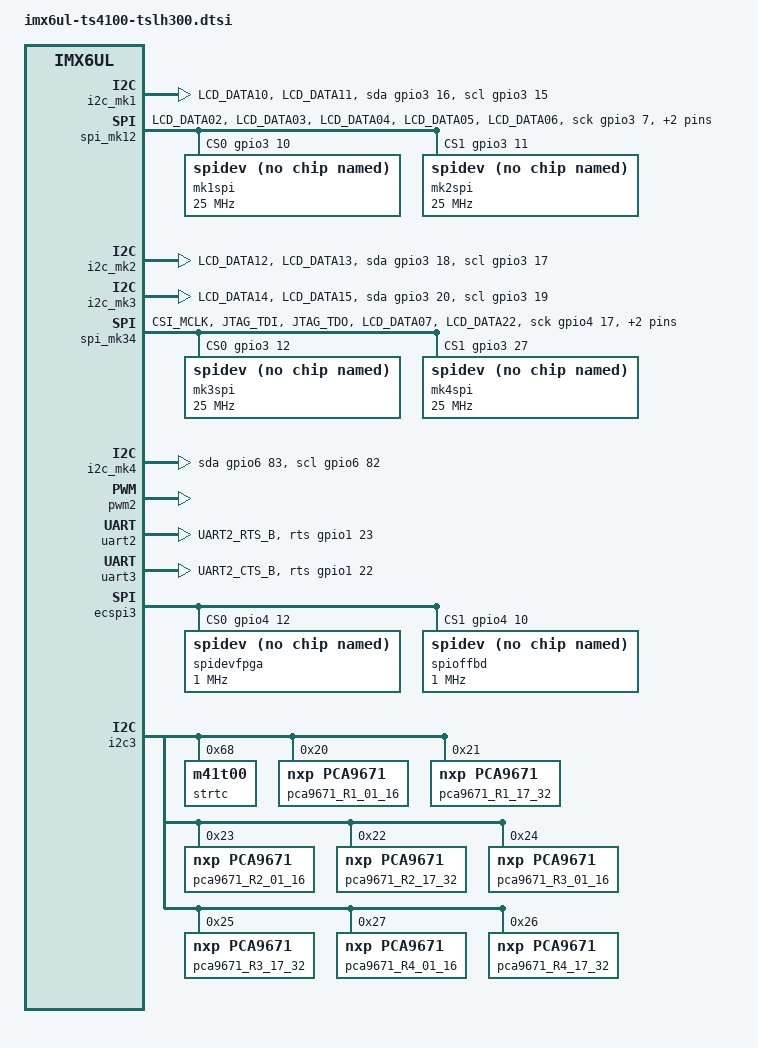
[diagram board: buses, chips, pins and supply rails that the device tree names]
/*
 * Copyright (C) 2021 Technologic Systems, Inc. dba embeddedTS <support@embeddedTS.com>
 *
 * This program is free software; you can redistribute it and/or modify
 * it under the terms of the GNU General Public License version 2 as
 * published by the Free Software Foundation.
 */

#include <dt-bindings/input/input.h>

/* mikroBUS 1 peripherals */
/ {
	i2c_mk1: i2c_mk1 {
		compatible = "i2c-gpio";
		pinctrl-names = "default";
		pinctrl-0 = <&pinctrl_mk1i2c>;
		gpios = <&gpio3 16 GPIO_ACTIVE_HIGH>, /* sda */
			<&gpio3 15 GPIO_ACTIVE_HIGH>; /* scl */
		/* i2c-gpio,delay-us = <1>; */ /* 200khz*/
		#address-cells = <1>;
		#size-cells = <0>;
		status = "okay";
	};

	spi_mk12: spi_mk12 {
		compatible = "spi-gpio";
		pinctrl-names = "default";
		pinctrl-0 = <&pinctrl_mk12spi>;
		#address-cells = <1>;
		#size-cells = <0>;
		num-chipselects = <2>;

		gpio-sck = <&gpio3 7 GPIO_ACTIVE_HIGH>;
		gpio-mosi = <&gpio3 8 GPIO_ACTIVE_HIGH>;
		gpio-miso = <&gpio3 9 GPIO_ACTIVE_HIGH>;
		cs-gpios = <&gpio3 10 GPIO_ACTIVE_HIGH>,
			   <&gpio3 11 GPIO_ACTIVE_HIGH>;

		status = "okay";

		mk1spi: mk12spi@0 {
			compatible = "spidev";
			reg = <0>;
			spi-max-frequency = <25000000>;
		};

		mk2spi: mk12spi@1 {
			compatible = "spidev";
			reg = <1>;
			spi-max-frequency = <25000000>;
		};
	};

	/* mikroBUS 2 peripherals */
	i2c_mk2: i2c_mk2 {
		compatible = "i2c-gpio";
		pinctrl-names = "default";
		pinctrl-0 = <&pinctrl_mk2i2c>;
		gpios = <&gpio3 18 GPIO_ACTIVE_HIGH>, /* sda */
			<&gpio3 17 GPIO_ACTIVE_HIGH>; /* scl */
		/* i2c-gpio,delay-us = <1>; */ /* 200khz*/
		#address-cells = <1>;
		#size-cells = <0>;
		status = "okay";
	};

	/* mikroBUS 3 peripherals */
	i2c_mk3: i2c_mk3 {
		compatible = "i2c-gpio";
		pinctrl-names = "default";
		pinctrl-0 = <&pinctrl_mk3i2c>;
		gpios = <&gpio3 20 GPIO_ACTIVE_HIGH>, /* sda */
			<&gpio3 19 GPIO_ACTIVE_HIGH>; /* scl */
		/* i2c-gpio,delay-us = <1>; */ /* 200khz*/
		#address-cells = <1>;
		#size-cells = <0>;
		status = "okay";
	};

	spi_mk34: spi_mk34 {
		compatible = "spi-gpio";
		pinctrl-names = "default";
		pinctrl-0 = <&pinctrl_mk34spi>;
		#address-cells = <1>;
		#size-cells = <0>;
		num-chipselects = <2>;

		gpio-sck = <&gpio4 17 GPIO_ACTIVE_HIGH>;
		gpio-mosi = <&gpio1 13 GPIO_ACTIVE_HIGH>;
		gpio-miso = <&gpio1 12 GPIO_ACTIVE_HIGH>;
		cs-gpios = <&gpio3 12 GPIO_ACTIVE_HIGH>,
			   <&gpio3 27 GPIO_ACTIVE_HIGH>;

		status = "okay";

		mk3spi: mk34spi@0 {
			compatible = "spidev";
			reg = <0>;
			spi-max-frequency = <25000000>;
		};

		mk4spi: mk34spi@1 {
			compatible = "spidev";
			reg = <1>;
			spi-max-frequency = <25000000>;
		};
	};

	/* mikroBUS 4 peripherals */
	i2c_mk4: i2c_mk4 {
		compatible = "i2c-gpio";
		/* XXX: NOTE: This peripheral is FPGA GPIO and will be slow! */
		gpios = <&gpio6 83 GPIO_ACTIVE_HIGH>, /* sda */
			<&gpio6 82 GPIO_ACTIVE_HIGH>; /* scl */
		/* i2c-gpio,delay-us = <1>; */ /* 200khz*/
		#address-cells = <1>;
		#size-cells = <0>;
		status = "okay";
	};
};

&can1 {
	status = "disabled";
};

&can2 {
	status = "disabled";
};

/*  adc1 is currently using IO09,to use pwm2 remove IO09 from the ADC
 *  definition and set pwm2 peripheral to "okay
 */
&adc1 {
	status = "disabled";
};

&pwm2 {
	status = "okay";
};

/* Disabled here insce it conflicts IOMUX */
&pwm5 {
	status = "disabled";
};

&pwm6 {
	status = "disabled";
};

&uart2 {
	pinctrl-names = "default";
	pinctrl-0 = <&pinctrl_uart2 &pinctrl_uart2_txen>;

        uart-has-rtscts;
        rts-gpios = <&gpio1 23 GPIO_ACTIVE_HIGH>;
        linux,rs485-enabled-at-boot-time;
	dma-names = "", "";

	status = "okay";
};

&uart3 {
	pinctrl-names = "default";
	pinctrl-0 = <&pinctrl_uart3 &pinctrl_uart3_txen>;

	uart-has-rtscts;
	rts-gpios = <&gpio1 22 GPIO_ACTIVE_HIGH>;
	linux,rs485-enabled-at-boot-time;
	dma-names = "", "";

	status = "okay";
};

/* Add offbd SPI support */
&ecspi3 {
        fsl,spi-num-chipselects = <2>;
        cs-gpios = <&gpio4 12 0>, <&gpio4 10 0>;
        pinctrl-names = "default";
        pinctrl-0 = <&pinctrl_ecspi3>;
        status = "okay";

        spidevfpga: spi@0 {
                compatible = "spidev";
                reg = <0>;
                spi-max-frequency = <1000000>;
        };

        spioffbd: spi@1 {
                compatible = "spidev";
                reg = <1>;
                spi-max-frequency = <1000000>;
        };
};


&i2c3 {
	strtc: m41t00s@68 {
		compatible = "m41t00";
		reg = <0x68>;
	};

	pca9671_R1_01_16: gpio@20 {
		compatible = "nxp,pca9671";
		gpio-controller;
		#gpio-cells = <2>;

		reg = <0x20>;
		status = "okay";

		gpio-line-names =
			"CN44_P35",
			"CN44_P33",
			"CN44_P31",
			"CN44_P29",
			"CN44_P27",
			"CN44_P25",
			"CN44_P23",
			"CN44_P21",
			"CN44_P19",
			"CN44_P17",
			"CN44_P15",
			"CN44_P13",
			"CN44_P11",
			"CN44_P09",
			"CN44_P07",
			"CN44_P05";
	};

	pca9671_R1_17_32: gpio@21 {
		compatible = "nxp,pca9671";
		gpio-controller;
		#gpio-cells = <2>;

		reg = <0x21>;
		status = "okay";

		gpio-line-names =
			"CN44_P06",
			"CN44_P08",
			"CN44_P10",
			"CN44_P12",
			"CN44_P14",
			"CN44_P16",
			"CN44_P18",
			"CN44_P20",
			"CN44_P22",
			"CN44_P24",
			"CN44_P26",
			"CN44_P28",
			"CN44_P30",
			"CN44_P32",
			"CN44_P34",
			"CN44_P36";
	};

	pca9671_R2_01_16: gpio@23 {
		compatible = "nxp,pca9671";
		gpio-controller;
		#gpio-cells = <2>;

		reg = <0x23>;
		status = "okay";

		gpio-line-names =
			"CN41_P35",
			"CN41_P33",
			"CN41_P31",
			"CN41_P29",
			"CN41_P27",
			"CN41_P25",
			"CN41_P23",
			"CN41_P21",
			"CN41_P19",
			"CN41_P17",
			"CN41_P15",
			"CN41_P13",
			"CN41_P11",
			"CN41_P09",
			"CN41_P07",
			"CN41_P05";
	};

	pca9671_R2_17_32: gpio@22 {
		compatible = "nxp,pca9671";
		gpio-controller;
		#gpio-cells = <2>;

		reg = <0x22>;
		status = "okay";

		gpio-line-names =
			"CN41_P06",
			"CN41_P08",
			"CN41_P10",
			"CN41_P12",
			"CN41_P14",
			"CN41_P16",
			"CN41_P18",
			"CN41_P20",
			"CN41_P22",
			"CN41_P24",
			"CN41_P26",
			"CN41_P28",
			"CN41_P30",
			"CN41_P32",
			"CN41_P34",
			"CN41_P36";
	};

	pca9671_R3_01_16: gpio@24 {
		compatible = "nxp,pca9671";
		gpio-controller;
		#gpio-cells = <2>;

		reg = <0x24>;
		status = "okay";

		gpio-line-names =
			"CN42_P35",
			"CN42_P33",
			"CN42_P31",
			"CN42_P29",
			"CN42_P27",
			"CN42_P25",
			"CN42_P23",
			"CN42_P21",
			"CN42_P19",
			"CN42_P17",
			"CN42_P15",
			"CN42_P13",
			"CN42_P11",
			"CN42_P09",
			"CN42_P07",
			"CN42_P05";
	};

	pca9671_R3_17_32: gpio@25 {
		compatible = "nxp,pca9671";
		gpio-controller;
		#gpio-cells = <2>;

		reg = <0x25>;
		status = "okay";

		gpio-line-names =
			"CN42_P06",
			"CN42_P08",
			"CN42_P10",
			"CN42_P12",
			"CN42_P14",
			"CN42_P16",
			"CN42_P18",
			"CN42_P20",
			"CN42_P22",
			"CN42_P24",
			"CN42_P26",
			"CN42_P28",
			"CN42_P30",
			"CN42_P32",
			"CN42_P34",
			"CN42_P36";
	};

	pca9671_R4_01_16: gpio@27 {
		compatible = "nxp,pca9671";
		gpio-controller;
		#gpio-cells = <2>;

		reg = <0x27>;
		status = "okay";

		gpio-line-names =
			"CN43_P35",
			"CN43_P33",
			"CN43_P31",
			"CN43_P29",
			"CN43_P27",
			"CN43_P25",
			"CN43_P23",
			"CN43_P21",
			"CN43_P19",
			"CN43_P17",
			"CN43_P15",
			"CN43_P13",
			"CN43_P11",
			"CN43_P09",
			"CN43_P07",
			"CN43_P05";
	};

	pca9671_R4_17_32: gpio@26 {
		compatible = "nxp,pca9671";
		gpio-controller;
		#gpio-cells = <2>;

		reg = <0x26>;
		status = "okay";

		gpio-line-names =
			"CN43_P06",
			"CN43_P08",
			"CN43_P10",
			"CN43_P12",
			"CN43_P14",
			"CN43_P16",
			"CN43_P18",
			"CN43_P20",
			"CN43_P22",
			"CN43_P24",
			"CN43_P26",
			"CN43_P28",
			"CN43_P30",
			"CN43_P32",
			"CN43_P34",
			"CN43_P36";
	};
};

/* XXX: Consider adding CPU GPIO names here? */


&iomuxc {
	pinctrl-names = "default";
	pinctrl-0 = <&ts4100_pinctrl_hog &pinctrl_lh300_hog>;

	imx6ul-tslh300-ts4100 {
		pinctrl_lh300_hog: gpiolh300 {
			fsl,pins = <
				/* LCD Interface pins */
				MX6UL_PAD_LCD_DATA23__GPIO3_IO28        0x1b020

				/* CPU FAULT_N pin, no pull since hardware PD */
				MX6UL_PAD_JTAG_TCK__GPIO1_IO14		0x1a020

				/* Generally, INT pins are active high outputs
				 * from the click boards. Usually with a pull res
				 * on the board. Use a keeper in CPU */
				/* MK1-4 INT */
				MX6UL_PAD_LCD_DATA18__GPIO3_IO23	0x1a020
				MX6UL_PAD_LCD_DATA19__GPIO3_IO24	0x1a020
				MX6UL_PAD_LCD_CLK__GPIO3_IO00           0x1a020
				MX6UL_PAD_LCD_HSYNC__GPIO3_IO02         0x1a020

				/* Generally, RST pins are active low inputs to
				 * the clock boards. They usually have a pull res
				 * on them. Use a keeper in CPU for sanity */
				/* MK1-4 RST */
				MX6UL_PAD_CSI_DATA03__GPIO4_IO24	0x1a020
				MX6UL_PAD_CSI_DATA04__GPIO4_IO25	0x1a020
				MX6UL_PAD_CSI_DATA05__GPIO4_IO26	0x1a020
				MX6UL_PAD_CSI_PIXCLK__GPIO4_IO18	0x1a020

				/* MK2 PWM */
				MX6UL_PAD_LCD_ENABLE__GPIO3_IO01        0x1b020
				/* MK4 PWM */
				MX6UL_PAD_LCD_VSYNC__GPIO3_IO03         0x1b020

				/* AN pins are connected to GPIO GPIO as well as
				 * SPI ADC as these can be used as both on click
				 * boards. GPIO by default has no pull/keepers
				 * but enable hysteresis on the input path */
				/* MK1-4 AN */
				MX6UL_PAD_CSI_DATA00__GPIO4_IO21	0x10020
				MX6UL_PAD_JTAG_TMS__GPIO1_IO11		0x10020
				MX6UL_PAD_CSI_DATA01__GPIO4_IO22	0x10020
				MX6UL_PAD_CSI_DATA02__GPIO4_IO23	0x10020
			>;
		};

		pinctrl_uart2_txen: uart2txen {
			fsl,pins = <
				/* TXEN */
				MX6UL_PAD_UART2_RTS_B__GPIO1_IO23	0x1b020
			>;
		};

		pinctrl_uart8: uart8grp {
			fsl,pins = <
				MX6UL_PAD_LCD_DATA20__UART8_DCE_TX	0x1b0b1
				MX6UL_PAD_LCD_DATA21__UART8_DCE_RX	0x1b0b1
			>;
		};

		pinctrl_uart3_txen: uart3txen {
			fsl,pins = <
				/* TXEN */
				MX6UL_PAD_UART2_CTS_B__GPIO1_IO22	0x1b020
			>;
		};

		pinctrl_mk1i2c: mk1i2c {
			fsl,pins = <
				/*  0x1a020 == no pull resistor */
				/* SCL */
				MX6UL_PAD_LCD_DATA10__GPIO3_IO15	0x1a020
				/* SDA */
				MX6UL_PAD_LCD_DATA11__GPIO3_IO16	0x1a020
			>;
		};

		pinctrl_mk2i2c: mk2i2c {
			fsl,pins = <
				/*  0x1a020 == no pull resistor */
				/* SCL */
				MX6UL_PAD_LCD_DATA12__GPIO3_IO17	0x1a020
				/* SDA */
				MX6UL_PAD_LCD_DATA13__GPIO3_IO18	0x1a020
			>;
		};

		pinctrl_mk3i2c: mk3i2c {
			fsl,pins = <
				/*  0x1a020 == no pull resistor */
				/* SCL */
				MX6UL_PAD_LCD_DATA14__GPIO3_IO19	0x1a020
				/* SDA */
				MX6UL_PAD_LCD_DATA15__GPIO3_IO20	0x1a020
			>;
		};

		/* Bus shared between MK1 and MK2 */
		pinctrl_mk12spi: mk12spi {
			fsl,pins = <
				/* 0x1b020 == Hyst., 100k PU, 50 mA drive */
				/* CLK */
				MX6UL_PAD_LCD_DATA02__GPIO3_IO07	0x1b020
				/* MOSI */
				MX6UL_PAD_LCD_DATA03__GPIO3_IO08	0x1b020
				/* MISO */
				MX6UL_PAD_LCD_DATA04__GPIO3_IO09	0x1b020
				/* MK1 CS# */
				MX6UL_PAD_LCD_DATA05__GPIO3_IO10	0x1b020
				/* MK2 CS# */
				MX6UL_PAD_LCD_DATA06__GPIO3_IO11	0x1b020
			>;
		};

		/* Bus shared between MK3 and MK4 */
		pinctrl_mk34spi: mk34spi {
			fsl,pins = <
				/* 0x1b020 == Hyst., 100k PU, 50 mA drive */
				/* CLK */
				MX6UL_PAD_CSI_MCLK__GPIO4_IO17		0x1b020
				/* MOSI */
				MX6UL_PAD_JTAG_TDI__GPIO1_IO13		0x1b020
				/* MISO */
				MX6UL_PAD_JTAG_TDO__GPIO1_IO12		0x1b020
				/* MK3 CS# */
				MX6UL_PAD_LCD_DATA07__GPIO3_IO12        0x1b020
				/* MK4 CS# */
				MX6UL_PAD_LCD_DATA22__GPIO3_IO27        0x1b020
			>;
		};
	};
};
